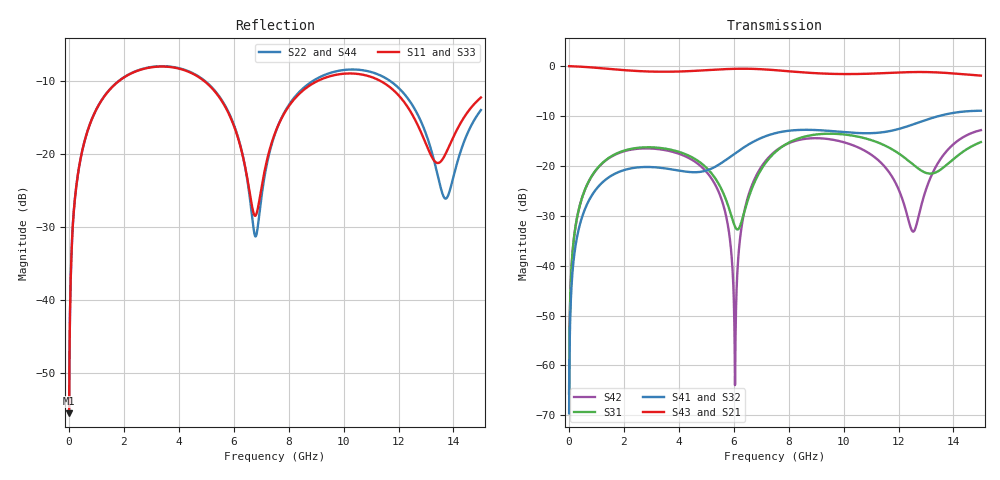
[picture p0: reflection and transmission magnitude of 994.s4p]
! Created with skrf 1.8.0 (http://scikit-rf.org).
# GHz S RI R 50.0
!freq ReS11 ImS11 ReS12 ImS12 ReS13 ImS13
! ReS14 ImS14
! ReS21 ImS21 ReS22 ImS22 ReS23 ImS23
! ReS24 ImS24
! ReS31 ImS31 ReS32 ImS32 ReS33 ImS33
! ReS34 ImS34
! ReS41 ImS41 ReS42 ImS42 ReS43 ImS43
! ReS44 ImS44
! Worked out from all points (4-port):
!   2499 points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, 5 MHz to 15 GHz, reference 50 ohm
!   strongest paths, dB at 5 MHz, 3.476 GHz, 7.19 GHz, 11.1 GHz, 15 GHz:
!     S43: 0.0, -1.1, -0.7, -1.5, -1.9
!     S21: 0.0, -1.1, -0.7, -1.5, -1.9
!     S41: -69.6, -20.5, -14.0, -13.4, -8.9
!     S32: -69.6, -20.6, -14.0, -13.6, -9.0
!     S31: -65.7, -16.5, -19.2, -15.0, -15.2
!     S42: -65.7, -16.8, -18.8, -18.1, -12.8
!   lowest |S11| = -55.6 dB at 5 MHz (marker M1), VSWR 1.00, Z = 50.1 + j0.101 ohm
!   |S11| at or under -10 dB: start of sweep to 1.838 GHz; 4.906 GHz to 9.081 GHz (4.175 GHz wide, 59.7 % of centre); 11.32 GHz to end of sweep
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0.005  0.00133 0.00101  0.9986 -0.00258  6.55e-05 0.000517  -6.36e-05 -0.000325
       0.9986 -0.00258  0.00133 0.00101  -6.36e-05 -0.000325  6.54e-05 0.000517
       6.55e-05 0.000517  -6.36e-05 -0.000325  0.00133 0.00101  0.9986 -0.00258
       -6.36e-05 -0.000325  6.54e-05 0.000517  0.9986 -0.00258  0.00133 0.00101
0.3626511  0.021 0.0772  0.9712 -0.1866  0.00977 0.0358  -0.00797 -0.0223
           0.9712 -0.1866  0.021 0.0772  -0.00795 -0.0223  0.00933 0.0359
           0.00977 0.0358  -0.00795 -0.0223  0.021 0.0772  0.9712 -0.1866
           -0.00797 -0.0223  0.00933 0.0359  0.9712 -0.1866  0.021 0.0772
1.825761  0.2539 0.1863  0.5823 -0.7114  0.1225 0.0603  -0.0864 -0.0114
          0.5823 -0.7114  0.256 0.185  -0.0862 -0.0117  0.1166 0.0676
          0.1225 0.0603  -0.0862 -0.0117  0.2541 0.1862  0.5823 -0.7113
          -0.0864 -0.0114  0.1166 0.0676  0.5823 -0.7113  0.2558 0.1851
6.046269  0.0797 -0.1244  -0.8568 -0.3859  -0.0212 -0.0125  -0.0487 0.124
          -0.8568 -0.3859  0.0708 -0.1323  -0.0526 0.1224  -0.000569 -0.000281
          -0.0212 -0.0125  -0.0526 0.1224  0.0786 -0.1246  -0.8568 -0.386
          -0.0487 0.124  -0.000569 -0.000281  -0.8568 -0.386  0.0715 -0.1316
6.727803  0.0371 -0.0113  -0.9345 -0.0787  -0.00618 0.0654  -0.00832 0.1752
          -0.9345 -0.0787  0.0265 -0.0144  -0.0135 0.1749  0.00616 0.0703
          -0.00618 0.0654  -0.0135 0.1749  0.0362 -0.0107  -0.9345 -0.0789
          -0.00832 0.1752  0.00616 0.0703  -0.9345 -0.0789  0.0272 -0.0144
10.83576  0.3361 -0.0656  0.1212 0.8281  0.1168 -0.1464  0.1902 -0.0944
          0.1212 0.8281  0.3562 -0.0944  0.1918 -0.0825  0.1299 -0.0485
          0.1168 -0.1464  0.1918 -0.0825  0.3355 -0.0696  0.1208 0.829
          0.1902 -0.0944  0.1299 -0.0485  0.1208 0.829  0.3531 -0.0907
15  0.2125 0.1163  0.7043 -0.3873  0.1331 0.1108  -0.2267 -0.2757
    0.7043 -0.3873  0.1593 0.1189  -0.2076 -0.2873  0.2035 0.1031
    0.1331 0.1108  -0.2076 -0.2873  0.2149 0.1228  0.7044 -0.3864
    -0.2267 -0.2757  0.2035 0.1031  0.7044 -0.3864  0.1569 0.1175
